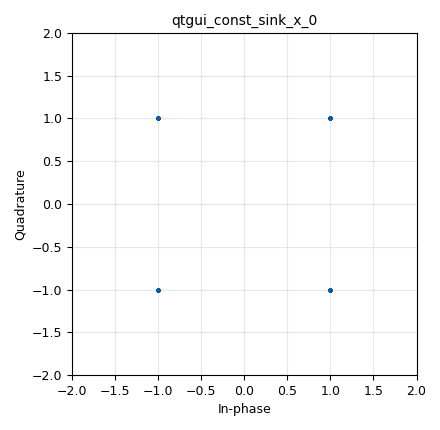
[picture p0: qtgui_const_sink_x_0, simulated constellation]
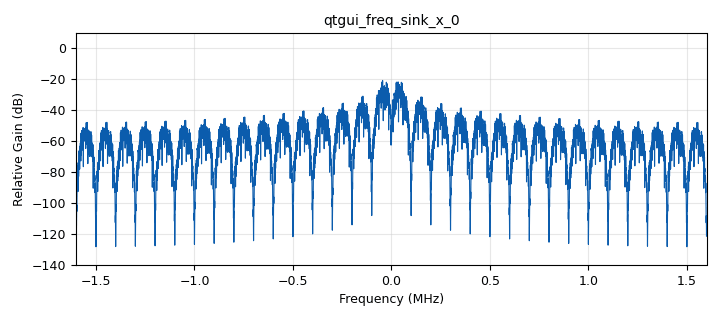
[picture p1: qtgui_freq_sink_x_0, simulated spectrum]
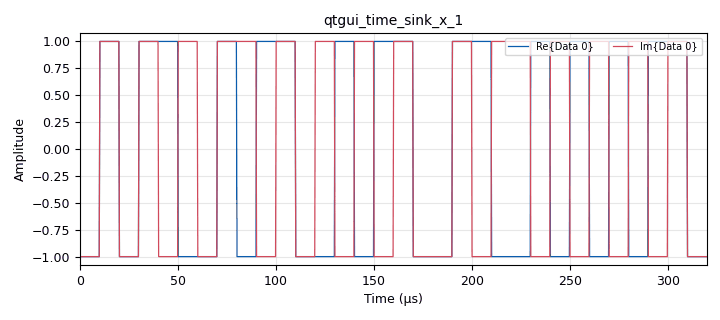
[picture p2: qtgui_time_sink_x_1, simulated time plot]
options:
  parameters:
    author: Akash Shaw | Ansul Jain
    copyright: '2025'
    generate_options: qt_gui
    id: NRZ
    output_language: python
    title: QPSK Manchester 100kbps
  states: {}

blocks:
- name: interpolation_factor
  id: variable
  parameters:
    value: samp_rate // 50000
  states: {}
- name: samp_rate
  id: variable
  parameters:
    value: '3200000'
  states: {}
- name: analog_random_source_x_0
  id: analog_random_source_x
  parameters:
    max: '256'
    min: '0'
    num_samps: '1000'
    repeat: 'True'
    type: byte
  states: {}
- name: blocks_packed_to_unpacked_xx_0
  id: blocks_packed_to_unpacked_xx
  parameters:
    bits_per_chunk: '2'
    endianness: gr.GR_MSB_FIRST
    type: byte
  states: {}
- name: blocks_throttle2_1
  id: blocks_throttle2
  parameters:
    samples_per_second: samp_rate
    type: byte
  states: {}
- name: digital_chunks_to_symbols_xx_0
  id: digital_chunks_to_symbols_xx
  parameters:
    dimension: '1'
    in_type: byte
    out_type: complex
    symbol_table: '[r + 1j * i for r in [-1, 1] for i in [-1, 1]]'
  states: {}
- name: import_0
  id: import
  parameters:
    imports: import numpy as np
  states: {}
- name: interp_fir_filter_xxx_0_0
  id: interp_fir_filter_xxx
  parameters:
    interp: interpolation_factor
    taps: np.concatenate([np.ones(interpolation_factor//2), -np.ones(interpolation_factor//2)])
    type: ccc
  states: {}
- name: qtgui_const_sink_x_0
  id: qtgui_const_sink_x
  parameters:
    grid: 'True'
    size: '1024'
    type: complex
  states: {}
- name: qtgui_freq_sink_x_0
  id: qtgui_freq_sink_x
  parameters:
    bw: samp_rate
    fc: '0'
    fftsize: '8192'
    type: complex
  states: {}
- name: qtgui_time_sink_x_1
  id: qtgui_time_sink_x
  parameters:
    grid: 'True'
    size: '1024'
    srate: samp_rate
    type: complex
  states: {}

connections:
- [analog_random_source_x_0, '0', blocks_throttle2_1, '0']
- [blocks_packed_to_unpacked_xx_0, '0', digital_chunks_to_symbols_xx_0, '0']
- [blocks_throttle2_1, '0', blocks_packed_to_unpacked_xx_0, '0']
- [digital_chunks_to_symbols_xx_0, '0', interp_fir_filter_xxx_0_0, '0']
- [interp_fir_filter_xxx_0_0, '0', qtgui_const_sink_x_0, '0']
- [interp_fir_filter_xxx_0_0, '0', qtgui_freq_sink_x_0, '0']
- [interp_fir_filter_xxx_0_0, '0', qtgui_time_sink_x_1, '0']

metadata:
  file_format: 1
  grc_version: 3.10.12.0
